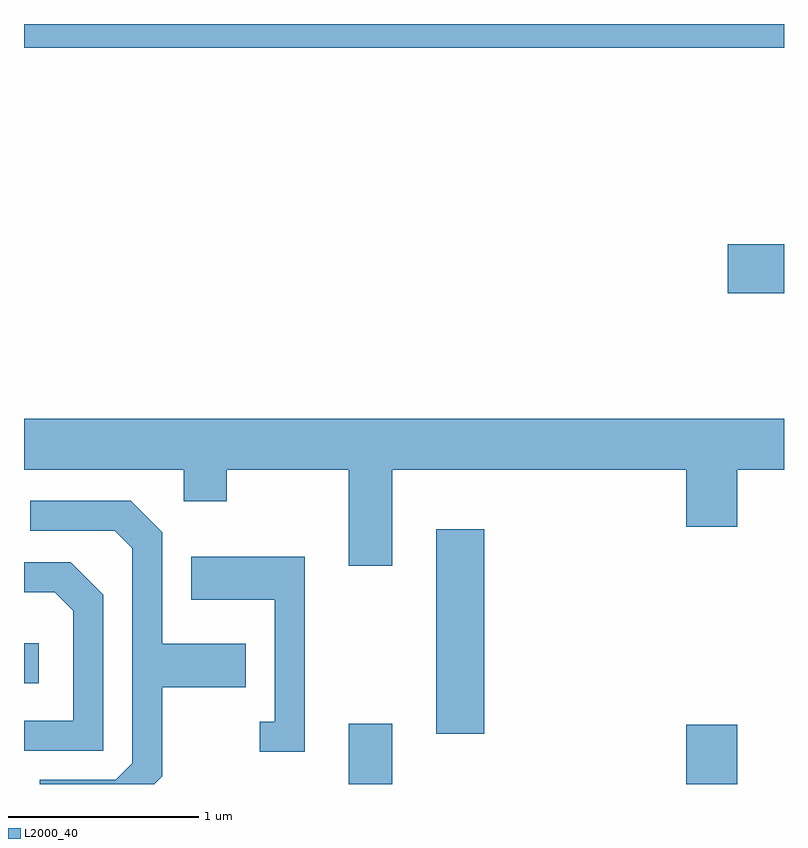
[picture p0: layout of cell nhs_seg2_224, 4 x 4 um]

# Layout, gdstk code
import gdstk
lib = gdstk.Library(unit=1e-6, precision=1e-09)
def R(c, l, rs):  # rectangles x0, y0, x1, y1
    for r in rs: c.add(gdstk.rectangle(r[:2], r[2:], *l))
def P(c, l, *ps):  # polygons
    for p in ps: c.add(gdstk.Polygon(p, *l))
L2000_40 = (2000, 40)

nhs_seg2_224 = lib.new_cell('nhs_seg2_224')
R(nhs_seg2_224, L2000_40, [(193.321,1017.802,193.549,1018.119), (195.096,1017.802,195.364,1018.114), (193.781,1018.066,194.034,1019.144), (191.611,1018.331,191.689,1018.544), (195.316,1020.386,195.611,1020.644), (191.611,1021.676,195.611,1021.802)])
P(nhs_seg2_224, L2000_40, [(193.549,1019.456),(195.096,1019.456),(195.096,1019.156),(195.364,1019.156),(195.364,1019.456),(195.611,1019.456),(195.611,1019.724),(191.611,1019.724),(191.611,1019.456),(192.451,1019.456),(192.451,1019.291),(192.679,1019.291),(192.679,1019.456),(193.321,1019.456),(193.321,1018.951),(193.549,1018.951)],
  [(192.339,1017.844),(192.339,1018.311),(192.779,1018.311),(192.779,1018.539),(192.339,1018.539),(192.339,1019.127),(192.172,1019.294),(191.643,1019.294),(191.643,1019.136),(192.089,1019.136),(192.181,1019.044),(192.181,1017.912),(192.094,1017.824),(191.693,1017.824),(191.693,1017.802),(192.297,1017.802)],
  [(193.089,1018.999),(192.491,1018.999),(192.491,1018.771),(192.931,1018.771),(192.931,1018.129),(192.853,1018.129),(192.853,1017.971),(193.089,1017.971)],
  [(192.029,1018.797),(191.857,1018.969),(191.611,1018.969),(191.611,1018.811),(191.774,1018.811),(191.871,1018.714),(191.871,1018.134),(191.611,1018.134),(191.611,1017.976),(192.029,1017.976)])

lib.write_gds('nhs_seg2_224.gds')
